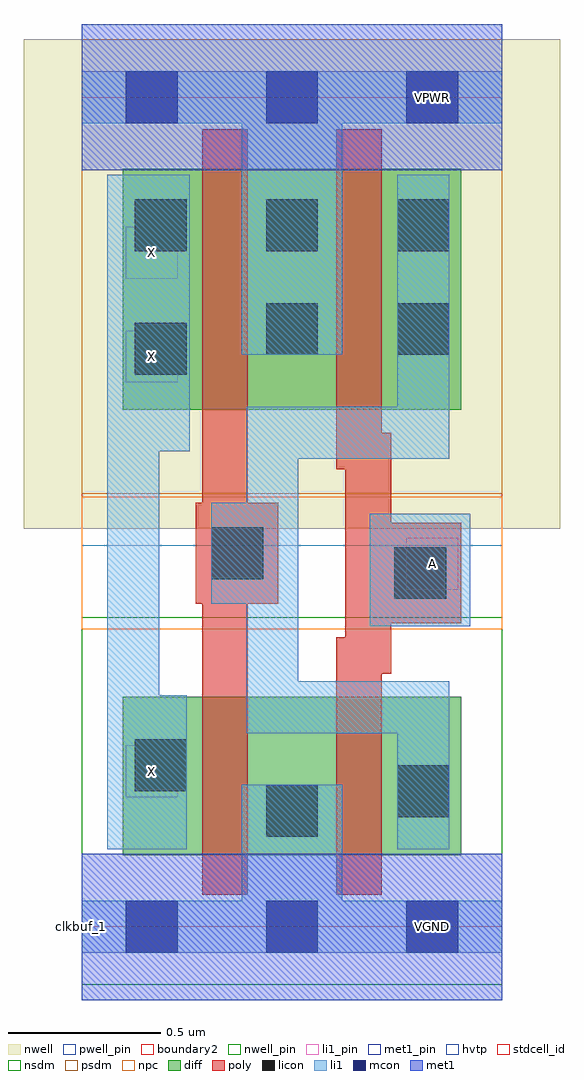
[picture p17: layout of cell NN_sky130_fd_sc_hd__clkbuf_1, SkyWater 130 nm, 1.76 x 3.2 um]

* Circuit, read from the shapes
.subckt NN_sky130_fd_sc_hd__clkbuf_1 A VGND VNB VPB VPWR X
XM1 VGND n1 X VNB sky130_fd_pr__nfet_01v8 w=0.52 l=0.15
XM2 n1 A VGND VNB sky130_fd_pr__nfet_01v8 w=0.52 l=0.15
XM3 VPWR n1 X VPB sky130_fd_pr__pfet_01v8_hvt w=0.79 l=0.15
XM4 n1 A VPWR VPB sky130_fd_pr__pfet_01v8_hvt w=0.79 l=0.15
.ends

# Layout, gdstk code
import gdstk
lib = gdstk.Library(unit=1e-6, precision=1e-09)
def R(c, l, rs):  # rectangles x0, y0, x1, y1
    for r in rs: c.add(gdstk.rectangle(r[:2], r[2:], *l))
def A(c, l, x, y, w, h, nx, ny, dx, dy):  # array of equal rectangles
    R(c, l, [(x+i*dx, y+j*dy, x+i*dx+w, y+j*dy+h) for i in range(nx) for j in range(ny)])
def P(c, l, *ps):  # polygons
    for p in ps: c.add(gdstk.Polygon(p, *l))
nwell_pin = (64, 16)
nwell = (64, 20)
diff = (65, 20)
poly = (66, 20)
licon = (66, 44)
li1_pin = (67, 16)
li1 = (67, 20)
mcon = (67, 44)
met1_pin = (68, 16)
met1 = (68, 20)
hvtp = (78, 44)
stdcell_id = (81, 4)
nsdm = (93, 44)
psdm = (94, 20)
npc = (95, 20)
pwell_pin = (122, 16)
boundary2 = (236, 0)

nn_sky130_fd_sc_hd__clkb = lib.new_cell('NN_sky130_fd_sc_hd__clkbuf_1')
R(nn_sky130_fd_sc_hd__clkb, nwell_pin, [(1.065,2.635,1.235,2.805)])
R(nn_sky130_fd_sc_hd__clkb, nwell, [(-0.19,1.305,1.57,2.91)])
R(nn_sky130_fd_sc_hd__clkb, diff, [(0.135,0.235,1.245,0.755), (0.135,1.695,1.245,2.485)])
P(nn_sky130_fd_sc_hd__clkb, poly, [(0.375,1.39),(0.395,1.39),(0.395,2.615),(0.545,2.615),(0.545,1.39),(0.645,1.39),(0.645,1.06),(0.545,1.06),(0.545,0.105),(0.395,0.105),(0.395,1.06),(0.375,1.06)],
  [(1.245,1.325),(1.015,1.325),(1.015,1.62),(0.985,1.62),(0.985,2.615),(0.835,2.615),(0.835,1.5),(0.865,1.5),(0.865,0.95),(0.835,0.95),(0.835,0.105),(0.985,0.105),(0.985,0.83),(1.015,0.83),(1.015,0.995),(1.245,0.995)])
A(nn_sky130_fd_sc_hd__clkb, licon, 0.175, 2.215, 0.17, 0.17, 3, 1, 0.43, 0)
R(nn_sky130_fd_sc_hd__clkb, licon, [(0.605,0.295,0.775,0.465), (1.035,0.36,1.205,0.53), (0.175,0.445,0.345,0.615), (1.025,1.075,1.195,1.245), (0.425,1.14,0.595,1.31), (0.175,1.81,0.345,1.98), (0.605,1.875,0.775,2.045), (1.035,1.875,1.205,2.045)])
R(nn_sky130_fd_sc_hd__clkb, li1_pin, [(0.145,0.425,0.315,0.595), (1.065,1.105,1.235,1.275), (0.145,1.785,0.315,1.955), (0.145,2.125,0.315,2.295)])
R(nn_sky130_fd_sc_hd__clkb, li1, [(0.945,0.985,1.275,1.355)])
P(nn_sky130_fd_sc_hd__clkb, li1, [(0.085,2.465),(0.355,2.465),(0.355,1.56),(0.255,1.56),(0.255,0.76),(0.345,0.76),(0.345,0.255),(0.085,0.255)],
  [(0,0.085),(0.525,0.085),(0.525,0.465),(0.855,0.465),(0.855,0.085),(1.38,0.085),(1.38,-0.085),(0,-0.085)],
  [(0.425,1.39),(0.54,1.39),(0.54,1.705),(1.035,1.705),(1.035,2.465),(1.205,2.465),(1.205,1.535),(0.71,1.535),(0.71,0.805),(1.205,0.805),(1.205,0.255),(1.035,0.255),(1.035,0.635),(0.54,0.635),(0.54,1.06),(0.425,1.06)],
  [(0,2.805),(1.38,2.805),(1.38,2.635),(0.855,2.635),(0.855,1.875),(0.525,1.875),(0.525,2.635),(0,2.635)])
A(nn_sky130_fd_sc_hd__clkb, mcon, 0.145, -0.085, 0.17, 0.17, 3, 2, 0.46, 2.72)
R(nn_sky130_fd_sc_hd__clkb, met1_pin, [(1.065,-0.085,1.235,0.085), (1.065,2.635,1.235,2.805)])
R(nn_sky130_fd_sc_hd__clkb, hvtp, [(0,1.25,1.38,2.72)])
R(nn_sky130_fd_sc_hd__clkb, stdcell_id, [(0,0,1.38,2.72)])
R(nn_sky130_fd_sc_hd__clkb, nsdm, [(0,-0.19,1.38,1.015)])
R(nn_sky130_fd_sc_hd__clkb, psdm, [(0,1.42,1.38,2.91)])
R(nn_sky130_fd_sc_hd__clkb, npc, [(0,0.975,1.38,1.41)])
R(nn_sky130_fd_sc_hd__clkb, pwell_pin, [(1.065,-0.085,1.235,0.085)])
R(nn_sky130_fd_sc_hd__clkb, boundary2, [(0,0,1.38,2.72)])
nn_sky130_fd_sc_hd__clkb.add(gdstk.FlexPath([(1.38,0),(0,0)], 0.48, ends="flush", simple_path=True, layer=68, datatype=20))  # met1
nn_sky130_fd_sc_hd__clkb.add(gdstk.FlexPath([(1.38,2.72),(0,2.72)], 0.48, ends="flush", simple_path=True, layer=68, datatype=20))  # met1
nn_sky130_fd_sc_hd__clkb.add(gdstk.Label('VGND', (1.15,0), layer=68, texttype=5))
nn_sky130_fd_sc_hd__clkb.add(gdstk.Label('VPWR', (1.15,2.72), layer=68, texttype=5))
nn_sky130_fd_sc_hd__clkb.add(gdstk.Label('X', (0.23,0.51), layer=67, texttype=5))
nn_sky130_fd_sc_hd__clkb.add(gdstk.Label('X', (0.23,1.87), layer=67, texttype=5))
nn_sky130_fd_sc_hd__clkb.add(gdstk.Label('X', (0.23,2.21), layer=67, texttype=5))
nn_sky130_fd_sc_hd__clkb.add(gdstk.Label('A', (1.15,1.19), layer=67, texttype=5))
nn_sky130_fd_sc_hd__clkb.add(gdstk.Label('VPB', (1.15,2.72), layer=64, texttype=5))
nn_sky130_fd_sc_hd__clkb.add(gdstk.Label('VNB', (1.15,0), layer=64, texttype=59))
nn_sky130_fd_sc_hd__clkb.add(gdstk.Label('clkbuf_1', (0,0), layer=83, texttype=44))

lib.write_gds('NN_sky130_fd_sc_hd__clkbuf_1.gds')
